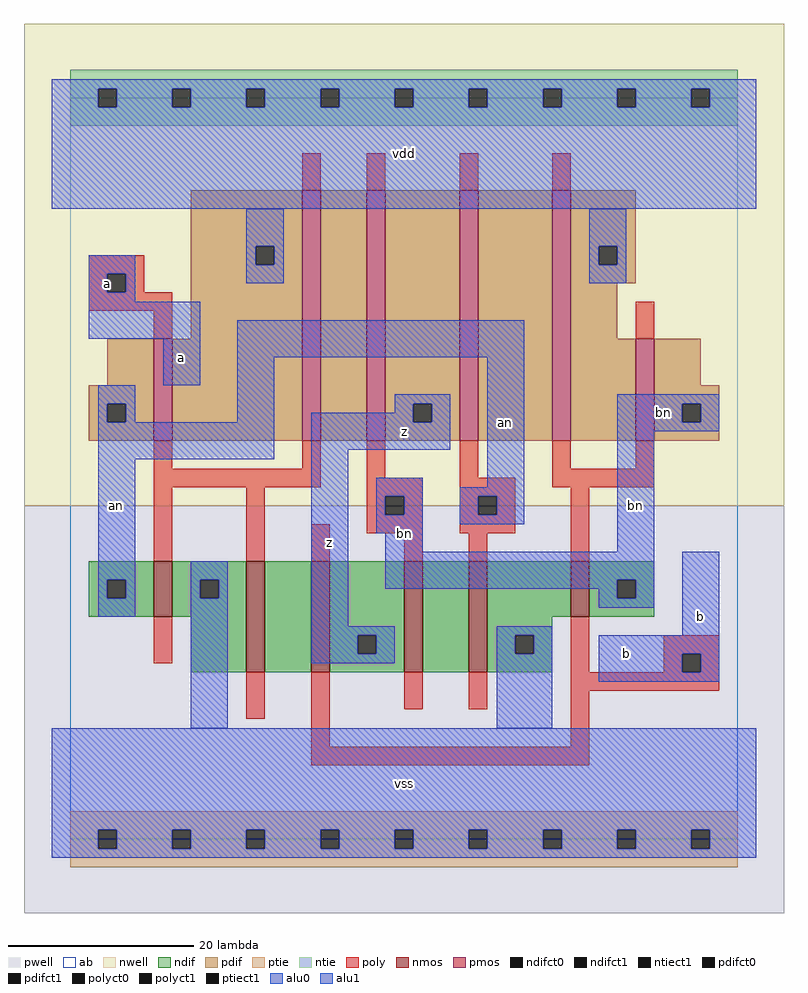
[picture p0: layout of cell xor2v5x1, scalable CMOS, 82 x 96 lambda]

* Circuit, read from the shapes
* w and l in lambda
.subckt xor2v5x1 a an b bn vdd vss z
M1 vss a an vss nfet w=6 l=2
M2 n1 a vss vss nfet w=12 l=2
M3 z b n1 vss nfet w=12 l=2
M4 n2 bn z vss nfet w=12 l=2
M5 vss an n2 vss nfet w=12 l=2
M6 bn b vss vss nfet w=6 l=2
M7 vdd a an vdd pfet w=11 l=2
M8 n3 a vdd vdd pfet w=27 l=2
M9 z bn n3 vdd pfet w=27 l=2
M10 n4 an z vdd pfet w=27 l=2
M11 vdd b n4 vdd pfet w=27 l=2
M12 bn b vdd vdd pfet w=11 l=2
.ends

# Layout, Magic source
magic
tech scmos
<< ab >>
rect 0 0 72 80
<< nwell >>
rect -5 36 77 88
<< pwell >>
rect -5 -8 77 36
<< poly >>
rect 25 70 27 74
rect 32 70 34 74
rect 42 70 44 74
rect 52 70 54 74
rect 2 61 8 63
rect 2 59 4 61
rect 6 59 8 61
rect 2 57 11 59
rect 9 54 11 57
rect 61 54 63 58
rect 9 40 11 43
rect 25 40 27 43
rect 9 38 27 40
rect 32 39 34 43
rect 42 39 44 43
rect 52 40 54 43
rect 61 40 63 43
rect 9 30 11 38
rect 19 30 21 38
rect 32 37 38 39
rect 32 35 34 37
rect 36 35 38 37
rect 26 30 28 34
rect 32 33 38 35
rect 42 37 48 39
rect 52 38 63 40
rect 42 35 44 37
rect 46 35 48 37
rect 42 33 48 35
rect 36 30 38 33
rect 43 30 45 33
rect 54 30 56 38
rect 9 19 11 24
rect 54 18 56 24
rect 64 20 70 22
rect 64 18 66 20
rect 68 18 70 20
rect 19 13 21 18
rect 26 10 28 18
rect 36 14 38 18
rect 43 14 45 18
rect 54 16 70 18
rect 54 10 56 16
rect 26 8 56 10
<< ndif >>
rect 2 28 9 30
rect 2 26 4 28
rect 6 26 9 28
rect 2 24 9 26
rect 11 28 19 30
rect 11 26 14 28
rect 16 26 19 28
rect 11 24 19 26
rect 13 18 19 24
rect 21 18 26 30
rect 28 22 36 30
rect 28 20 31 22
rect 33 20 36 22
rect 28 18 36 20
rect 38 18 43 30
rect 45 24 54 30
rect 56 28 63 30
rect 56 26 59 28
rect 61 26 63 28
rect 56 24 63 26
rect 45 22 52 24
rect 45 20 48 22
rect 50 20 52 22
rect 45 18 52 20
<< pdif >>
rect 13 64 25 70
rect 13 62 20 64
rect 22 62 25 64
rect 13 54 25 62
rect 4 49 9 54
rect 2 47 9 49
rect 2 45 4 47
rect 6 45 9 47
rect 2 43 9 45
rect 11 43 25 54
rect 27 43 32 70
rect 34 47 42 70
rect 34 45 37 47
rect 39 45 42 47
rect 34 43 42 45
rect 44 43 52 70
rect 54 64 61 70
rect 54 62 57 64
rect 59 62 61 64
rect 54 60 61 62
rect 54 54 59 60
rect 54 43 61 54
rect 63 49 68 54
rect 63 47 70 49
rect 63 45 66 47
rect 68 45 70 47
rect 63 43 70 45
<< alu1 >>
rect -2 81 74 82
rect -2 79 3 81
rect 5 79 11 81
rect 13 79 19 81
rect 21 79 27 81
rect 29 79 35 81
rect 37 79 43 81
rect 45 79 51 81
rect 53 79 59 81
rect 61 79 67 81
rect 69 79 74 81
rect -2 68 74 79
rect 2 61 7 63
rect 2 59 4 61
rect 6 59 7 61
rect 2 58 7 59
rect 2 54 14 58
rect 10 49 14 54
rect 35 47 41 48
rect 35 46 37 47
rect 26 45 37 46
rect 39 45 41 47
rect 26 42 41 45
rect 26 23 30 42
rect 26 22 35 23
rect 26 20 31 22
rect 33 20 35 22
rect 26 19 35 20
rect 66 22 70 31
rect 57 20 70 22
rect 57 18 66 20
rect 68 18 70 20
rect 57 17 70 18
rect -2 1 74 12
rect -2 -1 3 1
rect 5 -1 11 1
rect 13 -1 19 1
rect 21 -1 27 1
rect 29 -1 35 1
rect 37 -1 43 1
rect 45 -1 51 1
rect 53 -1 59 1
rect 61 -1 67 1
rect 69 -1 74 1
rect -2 -2 74 -1
<< ptie >>
rect 0 1 72 3
rect 0 -1 3 1
rect 5 -1 11 1
rect 13 -1 19 1
rect 21 -1 27 1
rect 29 -1 35 1
rect 37 -1 43 1
rect 45 -1 51 1
rect 53 -1 59 1
rect 61 -1 67 1
rect 69 -1 72 1
rect 0 -3 72 -1
<< ntie >>
rect 0 81 72 83
rect 0 79 3 81
rect 5 79 11 81
rect 13 79 19 81
rect 21 79 27 81
rect 29 79 35 81
rect 37 79 43 81
rect 45 79 51 81
rect 53 79 59 81
rect 61 79 67 81
rect 69 79 72 81
rect 0 77 72 79
<< nmos >>
rect 9 24 11 30
rect 19 18 21 30
rect 26 18 28 30
rect 36 18 38 30
rect 43 18 45 30
rect 54 24 56 30
<< pmos >>
rect 9 43 11 54
rect 25 43 27 70
rect 32 43 34 70
rect 42 43 44 70
rect 52 43 54 70
rect 61 43 63 54
<< polyct0 >>
rect 34 35 36 37
rect 44 35 46 37
<< polyct1 >>
rect 4 59 6 61
rect 66 18 68 20
<< ndifct0 >>
rect 4 26 6 28
rect 14 26 16 28
rect 59 26 61 28
rect 48 20 50 22
<< ndifct1 >>
rect 31 20 33 22
<< ntiect1 >>
rect 3 79 5 81
rect 11 79 13 81
rect 19 79 21 81
rect 27 79 29 81
rect 35 79 37 81
rect 43 79 45 81
rect 51 79 53 81
rect 59 79 61 81
rect 67 79 69 81
<< ptiect1 >>
rect 3 -1 5 1
rect 11 -1 13 1
rect 19 -1 21 1
rect 27 -1 29 1
rect 35 -1 37 1
rect 43 -1 45 1
rect 51 -1 53 1
rect 59 -1 61 1
rect 67 -1 69 1
<< pdifct0 >>
rect 20 62 22 64
rect 4 45 6 47
rect 57 62 59 64
rect 66 45 68 47
<< pdifct1 >>
rect 37 45 39 47
<< alu0 >>
rect 19 64 23 68
rect 19 62 20 64
rect 22 62 23 64
rect 19 60 23 62
rect 56 64 60 68
rect 56 62 57 64
rect 59 62 60 64
rect 56 60 60 62
rect 18 52 49 56
rect 3 47 7 49
rect 3 45 4 47
rect 6 45 7 47
rect 18 45 22 52
rect 3 41 22 45
rect 3 28 7 41
rect 3 26 4 28
rect 6 26 7 28
rect 3 24 7 26
rect 13 28 17 30
rect 13 26 14 28
rect 16 26 17 28
rect 13 12 17 26
rect 33 37 38 39
rect 45 38 49 52
rect 33 35 34 37
rect 36 35 38 37
rect 33 33 38 35
rect 42 37 49 38
rect 42 35 44 37
rect 46 35 49 37
rect 42 34 49 35
rect 59 47 70 48
rect 59 45 66 47
rect 68 45 70 47
rect 59 44 70 45
rect 34 31 38 33
rect 59 31 63 44
rect 34 28 63 31
rect 34 27 59 28
rect 57 26 59 27
rect 61 26 63 28
rect 57 25 63 26
rect 46 22 52 23
rect 46 20 48 22
rect 50 20 52 22
rect 46 12 52 20
<< labels >>
rlabel alu0 5 36 5 36 6 an
rlabel alu0 36 33 36 33 6 bn
rlabel alu0 47 45 47 45 6 an
rlabel alu0 61 36 61 36 6 bn
rlabel alu0 64 46 64 46 6 bn
rlabel alu1 12 52 12 52 6 a
rlabel alu1 4 60 4 60 6 a
rlabel alu1 28 32 28 32 6 z
rlabel alu1 36 6 36 6 6 vss
rlabel alu1 36 44 36 44 6 z
rlabel alu1 36 74 36 74 6 vdd
rlabel alu1 60 20 60 20 6 b
rlabel alu1 68 24 68 24 6 b
<< end >>
